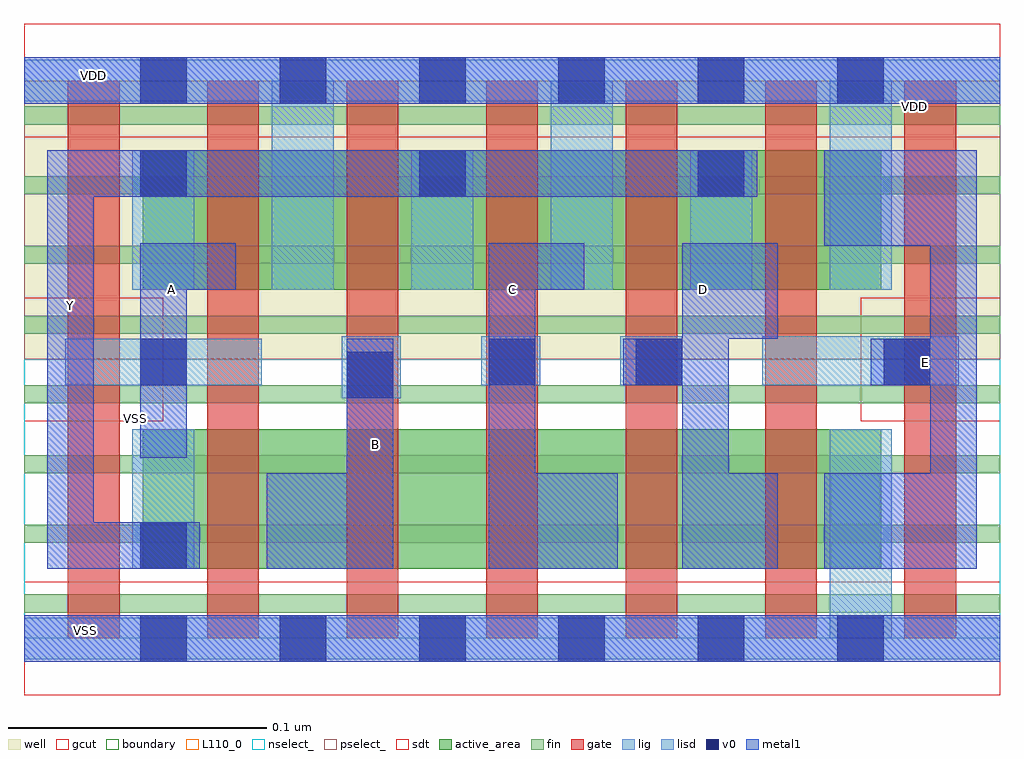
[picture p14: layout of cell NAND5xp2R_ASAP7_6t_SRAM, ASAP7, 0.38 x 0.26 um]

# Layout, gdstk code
import gdstk
lib = gdstk.Library(unit=1e-6, precision=2.5e-10)
def R(c, l, rs):  # rectangles x0, y0, x1, y1
    for r in rs: c.add(gdstk.rectangle(r[:2], r[2:], *l))
def A(c, l, x, y, w, h, nx, ny, dx, dy):  # array of equal rectangles
    R(c, l, [(x+i*dx, y+j*dy, x+i*dx+w, y+j*dy+h) for i in range(nx) for j in range(ny)])
def P(c, l, *ps):  # polygons
    for p in ps: c.add(gdstk.Polygon(p, *l))
well = (1, 0)
fin = (2, 0)
gate = (7, 0)
gcut = (10, 0)
active_area = (11, 0)
nselect_ = (12, 0)
pselect_ = (13, 0)
lig = (16, 0)
lisd = (17, 0)
v0 = (18, 0)
metal1 = (19, 0)
sdt = (88, 0)
boundary = (100, 0)
L110_0 = (110, 0)

nand5xp2r_asap7_6t_sram = lib.new_cell('NAND5xp2R_ASAP7_6t_SRAM')
R(nand5xp2r_asap7_6t_sram, well, [(0,0.108,0.378,0.216)])
A(nand5xp2r_asap7_6t_sram, fin, 0, 0.01, 0.378, 0.007, 1, 7, 0, 0.027)
R(nand5xp2r_asap7_6t_sram, fin, [(0,0.172,0.378,0.179), (0,0.199,0.378,0.206), (0,0.199,0.378,0.206)])
A(nand5xp2r_asap7_6t_sram, gate, 0.017, 0, 0.02, 0.216, 7, 1, 0.054, 0)
R(nand5xp2r_asap7_6t_sram, gcut, [(0,-0.022,0.378,0.022), (0,0.084,0.054,0.132), (0.324,0.084,0.378,0.132), (0,0.194,0.378,0.238)])
R(nand5xp2r_asap7_6t_sram, active_area, [(0.046,0.027,0.332,0.081), (0.046,0.135,0.332,0.189)])
R(nand5xp2r_asap7_6t_sram, nselect_, [(0,0,0.378,0.108)])
R(nand5xp2r_asap7_6t_sram, pselect_, [(0,0.108,0.378,0.216)])
R(nand5xp2r_asap7_6t_sram, lig, [(0,-0.008,0.378,0.008), (0.123,0.093,0.146,0.117), (0.016,0.098,0.092,0.116), (0.177,0.098,0.2,0.117), (0.231,0.098,0.255,0.117), (0.286,0.098,0.362,0.117), (0,0.208,0.378,0.224)])
A(nand5xp2r_asap7_6t_sram, lisd, 0.042, 0.135, 0.024, 0.054, 3, 1, 0.108, 0)
A(nand5xp2r_asap7_6t_sram, lisd, 0.096, 0.135, 0.024, 0.081, 3, 1, 0.108, 0)
R(nand5xp2r_asap7_6t_sram, lisd, [(0.312,0,0.336,0.081), (0.042,0.027,0.066,0.081)])
A(nand5xp2r_asap7_6t_sram, v0, 0.045, -0.009, 0.018, 0.018, 6, 2, 0.054, 0.216)
A(nand5xp2r_asap7_6t_sram, v0, 0.045, 0.171, 0.018, 0.018, 3, 1, 0.108, 0)
R(nand5xp2r_asap7_6t_sram, v0, [(0.045,0.027,0.063,0.045), (0.125,0.093,0.143,0.111), (0.045,0.098,0.063,0.116), (0.18,0.098,0.198,0.116), (0.237,0.098,0.255,0.116), (0.333,0.098,0.351,0.116)])
R(nand5xp2r_asap7_6t_sram, metal1, [(0,-0.009,0.378,0.009), (0.094,0.027,0.143,0.064), (0.125,0.027,0.143,0.116), (0.18,0.027,0.23,0.064), (0.18,0.027,0.198,0.153), (0.232,0.098,0.273,0.116), (0.328,0.098,0.369,0.116), (0.18,0.135,0.217,0.153), (0,0.207,0.378,0.225)])
P(nand5xp2r_asap7_6t_sram, metal1, [(0.045,0.153),(0.082,0.153),(0.082,0.135),(0.063,0.135),(0.063,0.07),(0.045,0.07)],
  [(0.284,0.189),(0.009,0.189),(0.009,0.027),(0.068,0.027),(0.068,0.045),(0.027,0.045),(0.027,0.171),(0.284,0.171)],
  [(0.255,0.153),(0.292,0.153),(0.292,0.116),(0.273,0.116),(0.273,0.064),(0.292,0.064),(0.292,0.027),(0.255,0.027)],
  [(0.351,0.152),(0.31,0.152),(0.31,0.189),(0.369,0.189),(0.369,0.027),(0.31,0.027),(0.31,0.064),(0.351,0.064)])
A(nand5xp2r_asap7_6t_sram, sdt, 0.042, 0.135, 0.024, 0.054, 6, 1, 0.054, 0)
R(nand5xp2r_asap7_6t_sram, sdt, [(0.042,0.027,0.066,0.081), (0.312,0.027,0.336,0.081)])
R(nand5xp2r_asap7_6t_sram, boundary, [(0,0,0.378,0.216)])
R(nand5xp2r_asap7_6t_sram, L110_0, [(0,0,0.378,0.216)])
nand5xp2r_asap7_6t_sram.add(gdstk.Label('Y', (0.018,0.129), layer=19, texttype=251))
nand5xp2r_asap7_6t_sram.add(gdstk.Label('E', (0.349,0.107), layer=19, texttype=251))
nand5xp2r_asap7_6t_sram.add(gdstk.Label('D', (0.263,0.135), layer=19, texttype=251))
nand5xp2r_asap7_6t_sram.add(gdstk.Label('VSS', (0.024,0.003), layer=19, texttype=251))
nand5xp2r_asap7_6t_sram.add(gdstk.Label('VDD', (0.027,0.218), layer=19, texttype=251))
nand5xp2r_asap7_6t_sram.add(gdstk.Label('C', (0.189,0.135), layer=19, texttype=251))
nand5xp2r_asap7_6t_sram.add(gdstk.Label('A', (0.057,0.135), layer=19, texttype=251))
nand5xp2r_asap7_6t_sram.add(gdstk.Label('B', (0.136,0.075), layer=19, texttype=251))
nand5xp2r_asap7_6t_sram.add(gdstk.Label('VDD', (0.345,0.206), layer=1, texttype=251))
nand5xp2r_asap7_6t_sram.add(gdstk.Label('VSS', (0.043,0.085), layer=3, texttype=251))

lib.write_gds('NAND5xp2R_ASAP7_6t_SRAM.gds')
